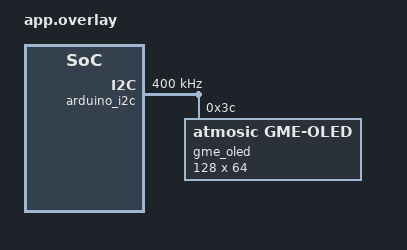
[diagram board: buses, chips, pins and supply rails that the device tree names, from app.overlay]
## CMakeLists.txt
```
# Copyright (c) 2026 Atmosic
#
# SPDX-License-Identifier: LicenseRef-Atmosic

cmake_minimum_required(VERSION 3.20.0)
find_package(Zephyr REQUIRED HINTS $ENV{ZEPHYR_BASE})
project(gme)

target_sources(app PRIVATE src/main.c)
```

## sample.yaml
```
# Copyright (c) 2026 Atmosic
#
# SPDX-License-Identifier: LicenseRef-Atmosic

sample:
  name: OLED text
  description: Print centered text on an OLED via the
    character framebuffer (CFB)
common:
  sysbuild: true
  harness: console
  harness_config:
    type: one_line
    regex:
      - "oled_text"
  tags:
    - display
tests:
  samples.drivers.display.gme.atm: {}
```

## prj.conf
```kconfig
# Copyright (c) 2026 Atmosic
#
# SPDX-License-Identifier: LicenseRef-Atmosic

CONFIG_LOG=y
CONFIG_DISPLAY=y
CONFIG_CHARACTER_FRAMEBUFFER=y
CONFIG_HEAP_MEM_POOL_SIZE=8192
```

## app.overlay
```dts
/*
 * Copyright (c) 2026 Atmosic
 *
 * SPDX-License-Identifier: LicenseRef-Atmosic
 */

/ {
	chosen {
		zephyr,display = &gme_oled;
	};
};

&arduino_i2c {
	status = "okay";
	clock-frequency = <I2C_BITRATE_FAST>;
	gme_oled: oled@3c {
		compatible = "atmosic,gme-oled";
		reg = <0x3c>;
		width = <128>;
		height = <64>;
		display-offset = <0>;
		multiplex-ratio = <63>;
		segment-remap;
		com-invdir;

		/* Both modules' datasheets ask for these two. */
		prechargep = <0xf1>;
		vcom-desel-level = <0x40>;

		max-write-len = <8>;
		write-gap-us = <2000>;
	};
};
```

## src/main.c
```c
/*
 * Copyright (c) 2026 Atmosic
 *
 * SPDX-License-Identifier: LicenseRef-Atmosic
 */

/*
 * Print a centered text string on a GME OLED using the
 * Zephyr character framebuffer (CFB).
 */
#include <zephyr/kernel.h>
#include <zephyr/device.h>
#include <zephyr/drivers/display.h>
#include <zephyr/display/cfb.h>
#include <zephyr/logging/log.h>
LOG_MODULE_REGISTER(oled_text, LOG_LEVEL_INF);

#define TEXT "Atmosic"

int main(void)
{
	const struct device *dev = DEVICE_DT_GET(DT_CHOSEN(zephyr_display));
	const size_t text_len = strlen(TEXT);
	uint16_t x_res, y_res;
	uint8_t fw, fh;

	if (!device_is_ready(dev)) {
		LOG_ERR("Display device not ready");
		return 0;
	}

	if (display_blanking_off(dev)) {
		LOG_ERR("Failed to turn off display blanking");
		return 0;
	}

	if (cfb_framebuffer_init(dev)) {
		LOG_ERR("Framebuffer initialization failed");
		return 0;
	}

	x_res = cfb_get_display_parameter(dev, CFB_DISPLAY_WIDTH);
	y_res = cfb_get_display_parameter(dev, CFB_DISPLAY_HEIGHT);

	/* Pick the largest built-in font whose rendered text still fits. */
	int font = 0;

	for (int idx = 0; cfb_get_font_size(dev, idx, &fw, &fh) == 0; idx++) {
		if (fw * text_len <= x_res && fh <= y_res) {
			font = idx;
		}
	}
	cfb_framebuffer_set_font(dev, font);
	cfb_get_font_size(dev, font, &fw, &fh);

	int x = ((int)x_res - (int)(fw * text_len)) / 2;
	int y = ((int)y_res - (int)fh) / 2;

	x = MAX(x, 0);
	y = MAX(y, 0);

	cfb_framebuffer_clear(dev, true);
	if (cfb_print(dev, TEXT, x, y)) {
		LOG_ERR("Failed to print text");
		return 0;
	}

	if (cfb_framebuffer_finalize(dev)) {
		LOG_ERR("Failed to update display");
		return 0;
	}

	LOG_INF("Displayed \"%s\" using font %d (%ux%u) at (%d,%d)", TEXT, font, fw, fh, x, y);

	return 0;
}
```
